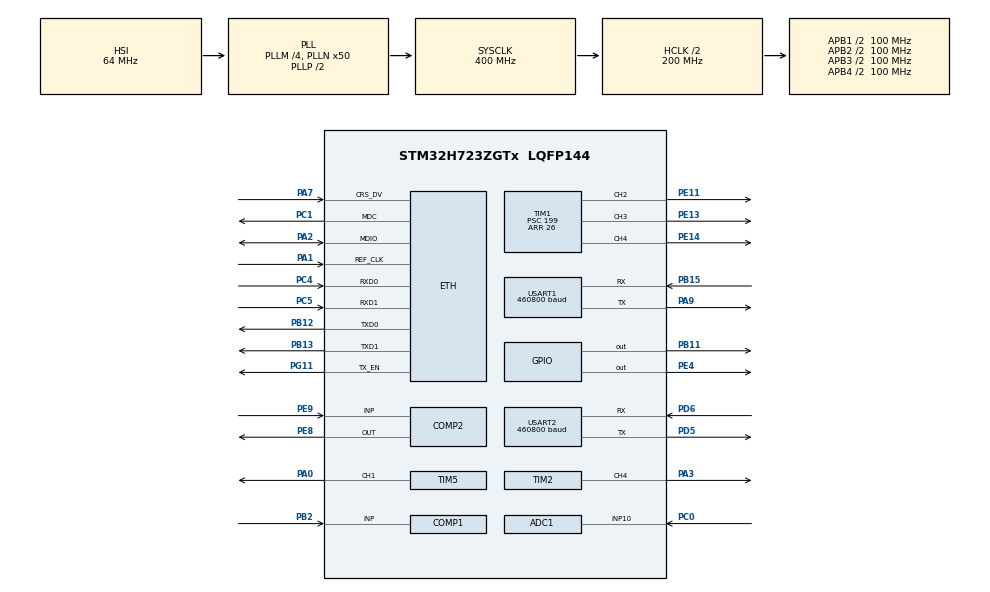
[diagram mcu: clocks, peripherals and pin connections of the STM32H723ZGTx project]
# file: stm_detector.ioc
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ADC1.Channel-0\#ChannelRegularConversion=ADC_CHANNEL_10
ADC1.NbrOfConversionFlag=1
ADC1.OffsetNumber-0\#ChannelRegularConversion=ADC_OFFSET_NONE
ADC1.OffsetSignedSaturation-0\#ChannelRegularConversion=DISABLE
ADC1.Rank-0\#ChannelRegularConversion=1
ADC1.SamplingTime-0\#ChannelRegularConversion=ADC_SAMPLETIME_1CYCLE_5
ADC1.master=1
COMP1.OutputPol=COMP_OUTPUTPOL_NONINVERTED
CORTEX_M7.AccessPermission_S-Cortex_Memory_Protection_Unit_Region1_Settings_S=MPU_REGION_PRIV_RO
CORTEX_M7.BaseAddress_S-Cortex_Memory_Protection_Unit_Region1_Settings_S=0x08000000
CORTEX_M7.CPU_DCache=Enabled
CORTEX_M7.CPU_ICache=Enabled
CORTEX_M7.Enable_S-Cortex_Memory_Protection_Unit_Region1_Settings_S=MPU_REGION_ENABLE
CORTEX_M7.IsCacheable_S-Cortex_Memory_Protection_Unit_Region1_Settings_S=MPU_ACCESS_CACHEABLE
CORTEX_M7.Size_S-Cortex_Memory_Protection_Unit_Region1_Settings_S=MPU_REGION_SIZE_1MB
CORTEX_M7.TypeExtField_S-Cortex_Memory_Protection_Unit_Region1_Settings_S=MPU_TEX_LEVEL1
CORTEX_M7.default_mode_Activation=1
DAC1.DAC_Channel-DAC_OUT1_Int=DAC_CHANNEL_1
DAC1.DAC_Channel-DAC_OUT2_Int=DAC_CHANNEL_2
Dma.Request0=USART2_RX
Dma.USART2_RX.0.Direction=DMA_PERIPH_TO_MEMORY
Dma.USART2_RX.0.EventEnable=DISABLE
Dma.USART2_RX.0.FIFOMode=DMA_FIFOMODE_DISABLE
Dma.USART2_RX.0.Instance=DMA1_Stream5
Dma.USART2_RX.0.MemDataAlignment=DMA_MDATAALIGN_BYTE
Dma.USART2_RX.0.MemInc=DMA_MINC_ENABLE
Dma.USART2_RX.0.Mode=DMA_CIRCULAR
Dma.USART2_RX.0.PeriphDataAlignment=DMA_PDATAALIGN_BYTE
Dma.USART2_RX.0.PeriphInc=DMA_PINC_DISABLE
Dma.USART2_RX.0.Polarity=HAL_DMAMUX_REQ_GEN_RISING
Dma.USART2_RX.0.Priority=DMA_PRIORITY_MEDIUM
Dma.USART2_RX.0.RequestNumber=1
Dma.USART2_RX.0.SignalID=NONE
Dma.USART2_RX.0.SyncEnable=DISABLE
Dma.USART2_RX.0.SyncPolarity=HAL_DMAMUX_SYNC_NO_EVENT
Dma.USART2_RX.0.SyncRequestNumber=1
Dma.USART2_RX.0.SyncSignalID=NONE
ETH.MediaInterface=HAL_ETH_RMII_MODE
FREERTOS.Tasks01=defaultTask,24,1024,StartDefaultTask,Default,NULL,Dynamic,NULL,NULL
FREERTOS.configENABLE_FPU=1
FREERTOS.configMINIMAL_STACK_SIZE=1024
FREERTOS.configUSE_NEWLIB_REENTRANT=1
LWIP.BSP.number=1
LWIP.GATEWAY_ADDRESS=010.000.001.001
LWIP.IP_ADDRESS=010.000.001.099
LWIP.LWIP_DHCP=0
LWIP.NETMASK_ADDRESS=255.255.255.000
LWIP.Version=v2.1.2_Cube
LWIP0.BSP.STBoard=false
LWIP0.BSP.api=BSP_COMPONENT_DRIVER
LWIP0.BSP.component=LAN8742
LWIP0.BSP.instance=LAN8742
LWIP0.BSP.name=Driver_PHY
LWIP0.BSP.semaphore=S_LAN8742
LWIP0.BSP.solution=LAN8742
Mcu.Family=STM32H7
Mcu.Name=STM32H723ZGTx
Mcu.Package=LQFP144
NUCLEO-H723ZG.BUTTON=1
NUCLEO-H723ZG.Bsp_Common_DEMO=true
NUCLEO-H723ZG.LD1=false
NUCLEO-H723ZG.LD2=true
NUCLEO-H723ZG.LD3=true
NUCLEO-H723ZG.VCP=true
NVIC.DMA1_Stream5_IRQn=true\:7\:0\:true\:false\:true\:false\:false\:true\:true
NVIC.EXTI15_10_IRQn=true\:5\:0\:false\:false\:true\:true\:false\:true\:true
NVIC.PriorityGroup=NVIC_PRIORITYGROUP_4
NVIC.TIM3_IRQn=true\:5\:0\:true\:false\:true\:true\:true\:true\:true
NVIC.TIM6_DAC_IRQn=true\:15\:0\:false\:false\:true\:false\:false\:true\:true
NVIC.TimeBase=TIM6_DAC_IRQn
NVIC.TimeBaseIP=TIM6
NVIC.USART2_IRQn=true\:6\:0\:true\:false\:true\:true\:true\:true\:true
PA0.Signal=S_TIM5_CH1
PA1.Mode=RMII
PA1.Signal=ETH_REF_CLK
PA13(JTMS/SWDIO).GPIO_Label=SWDIO
PA13(JTMS/SWDIO).Mode=Serial_Wire
PA13(JTMS/SWDIO).Signal=DEBUG_JTMS-SWDIO
PA14(JTCK/SWCLK).GPIO_Label=SWCLK
PA14(JTCK/SWCLK).Mode=Serial_Wire
PA14(JTCK/SWCLK).Signal=DEBUG_JTCK-SWCLK
PA2.Mode=RMII
PA2.Signal=ETH_MDIO
PA3.GPIO_Speed=GPIO_SPEED_FREQ_VERY_HIGH
PA3.Signal=S_TIM2_CH4
PA7.Mode=RMII
PA7.Signal=ETH_CRS_DV
PA9.Mode=Asynchronous
PA9.Signal=USART1_TX
PB11.Signal=GPIO_Output
PB12.Mode=RMII
PB12.Signal=ETH_TXD0
PB13.Mode=RMII
PB13.Signal=ETH_TXD1
PB15.Mode=Asynchronous
PB15.Signal=USART1_RX
PB2.Mode=INP
PB2.Signal=COMP1_INP
PC0.Signal=ADCx_INP10
PC1.Mode=RMII
PC1.Signal=ETH_MDC
PC14-OSC32_IN.Signal=RCC_OSC32_IN
PC15-OSC32_OUT.Signal=RCC_OSC32_OUT
PC4.Mode=RMII
PC4.Signal=ETH_RXD0
PC5.Mode=RMII
PC5.Signal=ETH_RXD1
PD5.Mode=Asynchronous
PD5.Signal=USART2_TX
PD6.Mode=Asynchronous
PD6.Signal=USART2_RX
PD8.Signal=USART3_TX
PD9.Signal=USART3_RX
PE11.Signal=S_TIM1_CH2
PE12.Signal=COMP1_OUT
PE13.Signal=S_TIM1_CH3
PE14.Signal=S_TIM1_CH4
PE4.Signal=GPIO_Output
PE8.Mode=ExternalOutput
PE8.Signal=COMP2_OUT
PE9.Mode=INP
PE9.Signal=COMP2_INP
PG11.Mode=RMII
PG11.Signal=ETH_TX_EN
ProjectManager.HeapSize=0x200
ProjectManager.StackSize=0x400
ProjectManager.TargetToolchain=STM32CubeIDE
RCC.ADCFreq_Value=160000000
RCC.APB1Freq_Value=100000000
RCC.APB2Freq_Value=100000000
RCC.APB3Freq_Value=100000000
RCC.APB4Freq_Value=100000000
RCC.CortexFreq_Value=400000000
RCC.D1PPRE=RCC_APB3_DIV2
RCC.D2PPRE1=RCC_APB1_DIV2
RCC.D2PPRE2=RCC_APB2_DIV2
RCC.D3PPRE=RCC_APB4_DIV2
RCC.DIVM1=4
RCC.DIVM2=4
RCC.DIVN1=50
RCC.DIVN2=20
RCC.DIVQ1=4
RCC.HCLKFreq_Value=200000000
RCC.HPRE=RCC_HCLK_DIV2
RCC.HSE_VALUE=8000000
RCC.PLL2FRACN=0
RCC.PLLFRACN=0
RCC.SYSCLKFreq_VALUE=400000000
RCC.SYSCLKSource=RCC_SYSCLKSOURCE_PLLCLK
RCC.USBCLockSelection=RCC_USBCLKSOURCE_HSI48
RCC.USBFreq_Value=48000000
SH.ADCx_INP10.0=ADC1_INP10,IN10-Single-Ended
SH.S_TIM1_CH2.0=TIM1_CH2,PWM Generation2 CH2
SH.S_TIM1_CH3.0=TIM1_CH3,PWM Generation3 CH3
SH.S_TIM1_CH4.0=TIM1_CH4,PWM Generation4 CH4
SH.S_TIM2_CH4.0=TIM2_CH4,PWM Generation4 CH4
SH.S_TIM5_CH1.0=TIM5_CH1,PWM Generation1 CH1
TIM1.Channel-PWM\ Generation2\ CH2=TIM_CHANNEL_2
TIM1.Channel-PWM\ Generation3\ CH3=TIM_CHANNEL_3
TIM1.Channel-PWM\ Generation4\ CH4=TIM_CHANNEL_4
TIM1.Period=26
TIM1.Prescaler=199
TIM1.TIM_MasterOutputTrigger=TIM_TRGO_RESET
TIM1.TIM_MasterSlaveMode=TIM_MASTERSLAVEMODE_ENABLE
TIM2.Channel-PWM\ Generation4\ CH4=TIM_CHANNEL_4
TIM2.OCPolarity_4=TIM_OCPOLARITY_HIGH
TIM2.Period=50
TIM2.Prescaler=96-1
TIM2.TIM_MasterOutputTrigger=TIM_TRGO_ENABLE
TIM3.Channel-Input_Capture1_from_TI1_Remap_TIM3=TIM_CHANNEL_1
TIM3.TIM_MasterOutputTrigger=TIM_TRGO_ENABLE
TIM5.Channel-Output\ Compare2\ No\ Output=TIM_CHANNEL_2
TIM5.Channel-PWM\ Generation1\ CH1=TIM_CHANNEL_1
TIM5.Period=455
TIM5.Prescaler=199
TIM5.TIM_MasterOutputTrigger=TIM_TRGO_OC2REF
TIM5.TIM_MasterSlaveMode=TIM_MASTERSLAVEMODE_DISABLE
USART1.BaudRate=460800
USART1.FIFOMode=FIFOMODE_ENABLE
USART1.Mode=MODE_RX
USART1.RXFIFOThreshold=RXFIFO_THRESHOLD_HALFFULL
USART1.VirtualMode-Asynchronous=VM_ASYNC
USART2.BaudRate=460800
USART2.DMADisableonRxErrorParam=ADVFEATURE_DMA_DISABLEONRXERROR
USART2.FIFOMode=FIFOMODE_DISABLE
USART2.Mode=MODE_RX
USART2.RXFIFOThreshold=RXFIFO_THRESHOLD_HALFFULL
USART2.VirtualMode-Asynchronous=VM_ASYNC
VP_COMP1_VS_VREFINT34.Mode=VREFINT_34
VP_COMP2_VS_VREFINT12.Mode=VREFINT_12
VP_DAC1_VS_DACI1.Mode=DAC_OUT1_Int
VP_DAC1_VS_DACI2.Mode=DAC_OUT2_Int
VP_FREERTOS_VS_CMSIS_V2.Mode=CMSIS_V2
VP_LWIP_VS_Enabled.Mode=Enabled
VP_MEMORYMAP_VS_MEMORYMAP.Mode=CurAppReg
VP_NUCLEO-H723ZG_VS_BSP_COMMON.Mode=COMMON
VP_SYS_VS_tim6.Mode=TIM6
VP_TIM1_VS_ClockSourceINT.Mode=Internal
VP_TIM1_VS_ClockSourceITR.Mode=TriggerSource_ITR0
VP_TIM1_VS_ControllerModeTrigger.Mode=Trigger Mode
VP_TIM1_VS_OPM.Mode=OPM_bit
VP_TIM2_VS_ClockSourceINT.Mode=Internal
VP_TIM2_VS_OPM.Mode=OPM_bit
VP_TIM3_VS_ClockSourceINT.Mode=Internal
VP_TIM3_VS_ClockSourceITR.Mode=TriggerSource_ITR1
VP_TIM3_VS_ControllerModeTrigger.Mode=Trigger Mode
VP_TIM3_VS_NoInput1.Mode=Input_Capture1_from_TI1_Remap_TIM3
VP_TIM5_VS_ClockSourceINT.Mode=Internal
VP_TIM5_VS_OPM.Mode=OPM_bit
VP_TIM5_VS_no_output2.Mode=Output Compare2 No Output
VREF+.Mode=InternalMode
VREF+.Signal=VREFBUF_OUT
board=NUCLEO-H723ZG

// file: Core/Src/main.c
/* USER CODE BEGIN Header */
/**
 ******************************************************************************
 * @file           : main.c
 * @brief          : Main program body
 ******************************************************************************
 * @attention
 *
 * Copyright (c) 2025 STMicroelectronics.
 * All rights reserved.
 *
 * This software is licensed under terms that can be found in the LICENSE file
 * in the root directory of this software component.
 * If no LICENSE file comes with this software, it is provided AS-IS.
 *
 ******************************************************************************
 */
/* USER CODE END Header */
#include "main.h"
#include "cmsis_os.h"
#include "lwip.h"

/* USER CODE BEGIN Includes */
#include "lwip/apps/lwiperf.h"
#include "gps.h"
#include "metal_detector.h"

/* USER CODE END Includes */

COM_InitTypeDef BspCOMInit;
__IO uint32_t BspButtonState = BUTTON_RELEASED;
ADC_HandleTypeDef hadc1;

COMP_HandleTypeDef hcomp1;
COMP_HandleTypeDef hcomp2;

DAC_HandleTypeDef hdac1;

TIM_HandleTypeDef htim1;
TIM_HandleTypeDef htim2;
TIM_HandleTypeDef htim3;
TIM_HandleTypeDef htim5;

UART_HandleTypeDef huart1;
UART_HandleTypeDef huart2;
DMA_HandleTypeDef hdma_usart2_rx;

/* Definitions for defaultTask */
osThreadId_t defaultTaskHandle;
const osThreadAttr_t defaultTask_attributes = {
  .name = "defaultTask",
  .stack_size = 1024 * 4,
  .priority = (osPriority_t) osPriorityNormal,
};
/* USER CODE BEGIN PV */

// GPS and metal detector modules are now in separate files (gps.c/metal_detector.c)

/* USER CODE END PV */

void SystemClock_Config(void);
static void MPU_Config(void);
static void MX_GPIO_Init(void);
static void MX_DMA_Init(void);
static void MX_COMP1_Init(void);
static void MX_COMP2_Init(void);
static void MX_DAC1_Init(void);
static void MX_TIM3_Init(void);
static void MX_USART1_UART_Init(void);
static void MX_USART2_UART_Init(void);
static void MX_TIM2_Init(void);
static void MX_ADC1_Init(void);
static void MX_TIM5_Init(void);
static void MX_TIM1_Init(void);
void StartDefaultTask(void *argument);

/* USER CODE BEGIN PFP */
// Function prototypes now in gps.h and metal_detector.h
/* USER CODE END PFP */

int main(void)
{

  /* MPU Configuration--------------------------------------------------------*/
  MPU_Config();

  /* Enable the CPU Cache */

  /* Enable I-Cache---------------------------------------------------------*/
  SCB_EnableICache();

  /* Enable D-Cache---------------------------------------------------------*/
  SCB_EnableDCache();

  /* MCU Configuration--------------------------------------------------------*/

  /* Reset of all peripherals, Initializes the Flash interface and the Systick. */
  HAL_Init();

  /* Configure the system clock */
  SystemClock_Config();

  /* Initialize all configured peripherals */
  MX_GPIO_Init();
  MX_DMA_Init();
  MX_COMP1_Init();
  MX_COMP2_Init();
  MX_DAC1_Init();
  MX_TIM3_Init();
  MX_USART1_UART_Init();
  MX_USART2_UART_Init();
  MX_TIM2_Init();
  MX_ADC1_Init();
  MX_TIM5_Init();
  MX_TIM1_Init();
  /* USER CODE BEGIN 2 */

  MD_Hardware_Init();

  /* USER CODE END 2 */

  /* Init scheduler */
  osKernelInitialize();

  /* Create the thread(s) */
  /* creation of defaultTask */
  defaultTaskHandle = osThreadNew(StartDefaultTask, NULL, &defaultTask_attributes);

  /* Initialize leds */
  BSP_LED_Init(LED_YELLOW);
  BSP_LED_Init(LED_RED);

  /* Initialize USER push-button, will be used to trigger an interrupt each time it's pressed.*/
  BSP_PB_Init(BUTTON_USER, BUTTON_MODE_EXTI);

  /* Initialize COM1 port (460800, 8 bits (7-bit data + 1 stop bit), no parity */
  BspCOMInit.BaudRate   = 460800;
  BspCOMInit.WordLength = COM_WORDLENGTH_8B;
  BspCOMInit.StopBits   = COM_STOPBITS_1;
  BspCOMInit.Parity     = COM_PARITY_NONE;
  BspCOMInit.HwFlowCtl  = COM_HWCONTROL_NONE;
  if (BSP_COM_Init(COM1, &BspCOMInit) != BSP_ERROR_NONE)
  {
    Error_Handler();
  }

  /* USER CODE BEGIN BSP */

  /* -- Sample board code to send message over COM1 port ---- */
  printf("Welcome 2 STM32 world !\n\r");

  /* -- Sample board code to switch on leds ---- */
  BSP_LED_On(LED_YELLOW);
  BSP_LED_On(LED_RED);

  /* USER CODE END BSP */

  /* Start scheduler */
  osKernelStart();

  /* We should never get here as control is now taken by the scheduler */

  /* Infinite loop */
  /* USER CODE BEGIN WHILE */
  while (1)
  {

    /* -- Sample board code for User push-button in interrupt mode ---- */
    if (BspButtonState == BUTTON_PRESSED)
    {
      /* Update button state */
      BspButtonState = BUTTON_RELEASED;
      /* -- Sample board code to toggle leds ---- */
      BSP_LED_Toggle(LED_YELLOW);
      BSP_LED_Toggle(LED_RED);

      /* ..... Perform your action ..... */
    }
    /* USER CODE END WHILE */

  }
}

void SystemClock_Config(void)
{
  RCC_OscInitTypeDef RCC_OscInitStruct = {0};
  RCC_ClkInitTypeDef RCC_ClkInitStruct = {0};

  /** Supply configuration update enable
  */
  HAL_PWREx_ConfigSupply(PWR_LDO_SUPPLY);

  /** Configure the main internal regulator output voltage
  */
  __HAL_PWR_VOLTAGESCALING_CONFIG(PWR_REGULATOR_VOLTAGE_SCALE1);

  while(!__HAL_PWR_GET_FLAG(PWR_FLAG_VOSRDY)) {}

  /** Initializes the RCC Oscillators according to the specified parameters
  * in the RCC_OscInitTypeDef structure.
  */
  RCC_OscInitStruct.OscillatorType = RCC_OSCILLATORTYPE_HSI;
  RCC_OscInitStruct.HSIState = RCC_HSI_DIV1;
  RCC_OscInitStruct.HSICalibrationValue = 64;
  RCC_OscInitStruct.PLL.PLLState = RCC_PLL_ON;
  RCC_OscInitStruct.PLL.PLLSource = RCC_PLLSOURCE_HSI;
  RCC_OscInitStruct.PLL.PLLM = 4;
  RCC_OscInitStruct.PLL.PLLN = 50;
  RCC_OscInitStruct.PLL.PLLP = 2;
  RCC_OscInitStruct.PLL.PLLQ = 4;
  RCC_OscInitStruct.PLL.PLLR = 2;
  RCC_OscInitStruct.PLL.PLLRGE = RCC_PLL1VCIRANGE_3;
  RCC_OscInitStruct.PLL.PLLVCOSEL = RCC_PLL1VCOWIDE;
  RCC_OscInitStruct.PLL.PLLFRACN = 0;
  if (HAL_RCC_OscConfig(&RCC_OscInitStruct) != HAL_OK)
  {
    Error_Handler();
  }

  /** Initializes the CPU, AHB and APB buses clocks
  */
  RCC_ClkInitStruct.ClockType = RCC_CLOCKTYPE_HCLK|RCC_CLOCKTYPE_SYSCLK
                              |RCC_CLOCKTYPE_PCLK1|RCC_CLOCKTYPE_PCLK2
                              |RCC_CLOCKTYPE_D3PCLK1|RCC_CLOCKTYPE_D1PCLK1;
  RCC_ClkInitStruct.SYSCLKSource = RCC_SYSCLKSOURCE_PLLCLK;
  RCC_ClkInitStruct.SYSCLKDivider = RCC_SYSCLK_DIV1;
  RCC_ClkInitStruct.AHBCLKDivider = RCC_HCLK_DIV2;
  RCC_ClkInitStruct.APB3CLKDivider = RCC_APB3_DIV2;
  RCC_ClkInitStruct.APB1CLKDivider = RCC_APB1_DIV2;
  RCC_ClkInitStruct.APB2CLKDivider = RCC_APB2_DIV2;
  RCC_ClkInitStruct.APB4CLKDivider = RCC_APB4_DIV2;

  if (HAL_RCC_ClockConfig(&RCC_ClkInitStruct, FLASH_LATENCY_2) != HAL_OK)
  {
    Error_Handler();
  }
}

static void MX_ADC1_Init(void)
{

  ADC_MultiModeTypeDef multimode = {0};
  ADC_ChannelConfTypeDef sConfig = {0};

  /** Common config
  */
  hadc1.Instance = ADC1;
  hadc1.Init.ClockPrescaler = ADC_CLOCK_ASYNC_DIV1;
  hadc1.Init.Resolution = ADC_RESOLUTION_16B;
  hadc1.Init.ScanConvMode = ADC_SCAN_DISABLE;
  hadc1.Init.EOCSelection = ADC_EOC_SINGLE_CONV;
  hadc1.Init.LowPowerAutoWait = DISABLE;
  hadc1.Init.ContinuousConvMode = DISABLE;
  hadc1.Init.NbrOfConversion = 1;
  hadc1.Init.DiscontinuousConvMode = DISABLE;
  hadc1.Init.ExternalTrigConv = ADC_SOFTWARE_START;
  hadc1.Init.ExternalTrigConvEdge = ADC_EXTERNALTRIGCONVEDGE_NONE;
  hadc1.Init.ConversionDataManagement = ADC_CONVERSIONDATA_DR;
  hadc1.Init.Overrun = ADC_OVR_DATA_PRESERVED;
  hadc1.Init.LeftBitShift = ADC_LEFTBITSHIFT_NONE;
  hadc1.Init.OversamplingMode = DISABLE;
  hadc1.Init.Oversampling.Ratio = 1;
  if (HAL_ADC_Init(&hadc1) != HAL_OK)
  {
    Error_Handler();
  }

  /** Configure the ADC multi-mode
  */
  multimode.Mode = ADC_MODE_INDEPENDENT;
  if (HAL_ADCEx_MultiModeConfigChannel(&hadc1, &multimode) != HAL_OK)
  {
    Error_Handler();
  }

  /** Configure Regular Channel
  */
  sConfig.Channel = ADC_CHANNEL_10;
  sConfig.Rank = ADC_REGULAR_RANK_1;
  sConfig.SamplingTime = ADC_SAMPLETIME_1CYCLE_5;
  sConfig.SingleDiff = ADC_SINGLE_ENDED;
  sConfig.OffsetNumber = ADC_OFFSET_NONE;
  sConfig.Offset = 0;
  sConfig.OffsetSignedSaturation = DISABLE;
  if (HAL_ADC_ConfigChannel(&hadc1, &sConfig) != HAL_OK)
  {
    Error_Handler();
  }

}

static void MX_COMP1_Init(void)
{

  hcomp1.Instance = COMP1;
  hcomp1.Init.InvertingInput = COMP_INPUT_MINUS_3_4VREFINT;
  hcomp1.Init.NonInvertingInput = COMP_INPUT_PLUS_IO2;
  hcomp1.Init.OutputPol = COMP_OUTPUTPOL_NONINVERTED;
  hcomp1.Init.Hysteresis = COMP_HYSTERESIS_NONE;
  hcomp1.Init.BlankingSrce = COMP_BLANKINGSRC_NONE;
  hcomp1.Init.Mode = COMP_POWERMODE_HIGHSPEED;
  hcomp1.Init.WindowMode = COMP_WINDOWMODE_DISABLE;
  hcomp1.Init.TriggerMode = COMP_TRIGGERMODE_NONE;
  if (HAL_COMP_Init(&hcomp1) != HAL_OK)
  {
    Error_Handler();
  }

}

static void MX_COMP2_Init(void)
{

  hcomp2.Instance = COMP2;
  hcomp2.Init.InvertingInput = COMP_INPUT_MINUS_1_2VREFINT;
  hcomp2.Init.NonInvertingInput = COMP_INPUT_PLUS_IO1;
  hcomp2.Init.OutputPol = COMP_OUTPUTPOL_NONINVERTED;
  hcomp2.Init.Hysteresis = COMP_HYSTERESIS_NONE;
  hcomp2.Init.BlankingSrce = COMP_BLANKINGSRC_NONE;
  hcomp2.Init.Mode = COMP_POWERMODE_HIGHSPEED;
  hcomp2.Init.WindowMode = COMP_WINDOWMODE_DISABLE;
  hcomp2.Init.TriggerMode = COMP_TRIGGERMODE_NONE;
  if (HAL_COMP_Init(&hcomp2) != HAL_OK)
  {
    Error_Handler();
  }

}

static void MX_DAC1_Init(void)
{

  DAC_ChannelConfTypeDef sConfig = {0};

  /** DAC Initialization
  */
  hdac1.Instance = DAC1;
  if (HAL_DAC_Init(&hdac1) != HAL_OK)
  {
    Error_Handler();
  }

  /** DAC channel OUT1 config
  */
  sConfig.DAC_SampleAndHold = DAC_SAMPLEANDHOLD_DISABLE;
  sConfig.DAC_Trigger = DAC_TRIGGER_NONE;
  sConfig.DAC_OutputBuffer = DAC_OUTPUTBUFFER_DISABLE;
  sConfig.DAC_ConnectOnChipPeripheral = DAC_CHIPCONNECT_ENABLE;
  sConfig.DAC_UserTrimming = DAC_TRIMMING_FACTORY;
  if (HAL_DAC_ConfigChannel(&hdac1, &sConfig, DAC_CHANNEL_1) != HAL_OK)
  {
    Error_Handler();
  }

  /** DAC channel OUT2 config
  */
  if (HAL_DAC_ConfigChannel(&hdac1, &sConfig, DAC_CHANNEL_2) != HAL_OK)
  {
    Error_Handler();
  }

}

static void MX_TIM1_Init(void)
{

  TIM_ClockConfigTypeDef sClockSourceConfig = {0};
  TIM_SlaveConfigTypeDef sSlaveConfig = {0};
  TIM_MasterConfigTypeDef sMasterConfig = {0};
  TIM_OC_InitTypeDef sConfigOC = {0};
  TIM_BreakDeadTimeConfigTypeDef sBreakDeadTimeConfig = {0};

  htim1.Instance = TIM1;
  htim1.Init.Prescaler = 199;
  htim1.Init.CounterMode = TIM_COUNTERMODE_UP;
  htim1.Init.Period = 26;
  htim1.Init.ClockDivision = TIM_CLOCKDIVISION_DIV1;
  htim1.Init.RepetitionCounter = 0;
  htim1.Init.AutoReloadPreload = TIM_AUTORELOAD_PRELOAD_DISABLE;
  if (HAL_TIM_Base_Init(&htim1) != HAL_OK)
  {
    Error_Handler();
  }
  sClockSourceConfig.ClockSource = TIM_CLOCKSOURCE_INTERNAL;
  if (HAL_TIM_ConfigClockSource(&htim1, &sClockSourceConfig) != HAL_OK)
  {
    Error_Handler();
  }
  if (HAL_TIM_PWM_Init(&htim1) != HAL_OK)
  {
    Error_Handler();
  }
  if (HAL_TIM_OnePulse_Init(&htim1, TIM_OPMODE_SINGLE) != HAL_OK)
  {
    Error_Handler();
  }
  sSlaveConfig.SlaveMode = TIM_SLAVEMODE_TRIGGER;
  sSlaveConfig.InputTrigger = TIM_TS_ITR0;
  if (HAL_TIM_SlaveConfigSynchro(&htim1, &sSlaveConfig) != HAL_OK)
  {
    Error_Handler();
  }
  sMasterConfig.MasterOutputTrigger = TIM_TRGO_RESET;
  sMasterConfig.MasterOutputTrigger2 = TIM_TRGO2_RESET;
  sMasterConfig.MasterSlaveMode = TIM_MASTERSLAVEMODE_ENABLE;
  if (HAL_TIMEx_MasterConfigSynchronization(&htim1, &sMasterConfig) != HAL_OK)
  {
    Error_Handler();
  }
  sConfigOC.OCMode = TIM_OCMODE_PWM1;
  sConfigOC.Pulse = 0;
  sConfigOC.OCPolarity = TIM_OCPOLARITY_HIGH;
  sConfigOC.OCNPolarity = TIM_OCNPOLARITY_HIGH;
  sConfigOC.OCFastMode = TIM_OCFAST_DISABLE;
  sConfigOC.OCIdleState = TIM_OCIDLESTATE_RESET;
  sConfigOC.OCNIdleState = TIM_OCNIDLESTATE_RESET;
  if (HAL_TIM_PWM_ConfigChannel(&htim1, &sConfigOC, TIM_CHANNEL_2) != HAL_OK)
  {
    Error_Handler();
  }
  if (HAL_TIM_PWM_ConfigChannel(&htim1, &sConfigOC, TIM_CHANNEL_3) != HAL_OK)
  {
    Error_Handler();
  }
  if (HAL_TIM_PWM_ConfigChannel(&htim1, &sConfigOC, TIM_CHANNEL_4) != HAL_OK)
  {
    Error_Handler();
  }
  sBreakDeadTimeConfig.OffStateRunMode = TIM_OSSR_DISABLE;
  sBreakDeadTimeConfig.OffStateIDLEMode = TIM_OSSI_DISABLE;
  sBreakDeadTimeConfig.LockLevel = TIM_LOCKLEVEL_OFF;
  sBreakDeadTimeConfig.DeadTime = 0;
  sBreakDeadTimeConfig.BreakState = TIM_BREAK_DISABLE;
  sBreakDeadTimeConfig.BreakPolarity = TIM_BREAKPOLARITY_HIGH;
  sBreakDeadTimeConfig.BreakFilter = 0;
  sBreakDeadTimeConfig.Break2State = TIM_BREAK2_DISABLE;
  sBreakDeadTimeConfig.Break2Polarity = TIM_BREAK2POLARITY_HIGH;
  sBreakDeadTimeConfig.Break2Filter = 0;
  sBreakDeadTimeConfig.AutomaticOutput = TIM_AUTOMATICOUTPUT_DISABLE;
  if (HAL_TIMEx_ConfigBreakDeadTime(&htim1, &sBreakDeadTimeConfig) != HAL_OK)
  {
    Error_Handler();
  }
  HAL_TIM_MspPostInit(&htim1);

}

static void MX_TIM2_Init(void)
{

  TIM_ClockConfigTypeDef sClockSourceConfig = {0};
  TIM_MasterConfigTypeDef sMasterConfig = {0};
  TIM_OC_InitTypeDef sConfigOC = {0};

  htim2.Instance = TIM2;
  htim2.Init.Prescaler = 96-1;
  htim2.Init.CounterMode = TIM_COUNTERMODE_UP;
  htim2.Init.Period = 50;
  htim2.Init.ClockDivision = TIM_CLOCKDIVISION_DIV1;
  htim2.Init.AutoReloadPreload = TIM_AUTORELOAD_PRELOAD_DISABLE;
  if (HAL_TIM_Base_Init(&htim2) != HAL_OK)
  {
    Error_Handler();
  }
  sClockSourceConfig.ClockSource = TIM_CLOCKSOURCE_INTERNAL;
  if (HAL_TIM_ConfigClockSource(&htim2, &sClockSourceConfig) != HAL_OK)
  {
    Error_Handler();
  }
  if (HAL_TIM_PWM_Init(&htim2) != HAL_OK)
  {
    Error_Handler();
  }
  if (HAL_TIM_OnePulse_Init(&htim2, TIM_OPMODE_SINGLE) != HAL_OK)
  {
    Error_Handler();
  }
  sMasterConfig.MasterOutputTrigger = TIM_TRGO_ENABLE;
  sMasterConfig.MasterSlaveMode = TIM_MASTERSLAVEMODE_DISABLE;
  if (HAL_TIMEx_MasterConfigSynchronization(&htim2, &sMasterConfig) != HAL_OK)
  {
    Error_Handler();
  }
  sConfigOC.OCMode = TIM_OCMODE_PWM1;
  sConfigOC.Pulse = 0;
  sConfigOC.OCPolarity = TIM_OCPOLARITY_HIGH;
  sConfigOC.OCFastMode = TIM_OCFAST_DISABLE;
  if (HAL_TIM_PWM_ConfigChannel(&htim2, &sConfigOC, TIM_CHANNEL_4) != HAL_OK)
  {
    Error_Handler();
  }
  /* USER CODE BEGIN TIM2_Init 2 */

  // Pull-ups on GPIO ensure both channels idle HIGH at reset (configured in MSP)

  /* USER CODE END TIM2_Init 2 */
  HAL_TIM_MspPostInit(&htim2);

}

static void MX_TIM3_Init(void)
{

  TIM_ClockConfigTypeDef sClockSourceConfig = {0};
  TIM_SlaveConfigTypeDef sSlaveConfig = {0};
  TIM_MasterConfigTypeDef sMasterConfig = {0};
  TIM_IC_InitTypeDef sConfigIC = {0};

  htim3.Instance = TIM3;
  htim3.Init.Prescaler = 0;
  htim3.Init.CounterMode = TIM_COUNTERMODE_UP;
  htim3.Init.Period = 65535;
  htim3.Init.ClockDivision = TIM_CLOCKDIVISION_DIV1;
  htim3.Init.AutoReloadPreload = TIM_AUTORELOAD_PRELOAD_DISABLE;
  if (HAL_TIM_Base_Init(&htim3) != HAL_OK)
  {
    Error_Handler();
  }
  sClockSourceConfig.ClockSource = TIM_CLOCKSOURCE_INTERNAL;
  if (HAL_TIM_ConfigClockSource(&htim3, &sClockSourceConfig) != HAL_OK)
  {
    Error_Handler();
  }
  if (HAL_TIM_IC_Init(&htim3) != HAL_OK)
  {
    Error_Handler();
  }
  sSlaveConfig.SlaveMode = TIM_SLAVEMODE_TRIGGER;
  sSlaveConfig.InputTrigger = TIM_TS_ITR1;
  if (HAL_TIM_SlaveConfigSynchro(&htim3, &sSlaveConfig) != HAL_OK)
  {
    Error_Handler();
  }
  sMasterConfig.MasterOutputTrigger = TIM_TRGO_ENABLE;
  sMasterConfig.MasterSlaveMode = TIM_MASTERSLAVEMODE_DISABLE;
  if (HAL_TIMEx_MasterConfigSynchronization(&htim3, &sMasterConfig) != HAL_OK)
  {
    Error_Handler();
  }
  sConfigIC.ICPolarity = TIM_INPUTCHANNELPOLARITY_RISING;
  sConfigIC.ICSelection = TIM_ICSELECTION_DIRECTTI;
  sConfigIC.ICPrescaler = TIM_ICPSC_DIV1;
  sConfigIC.ICFilter = 0;
  if (HAL_TIM_IC_ConfigChannel(&htim3, &sConfigIC, TIM_CHANNEL_1) != HAL_OK)
  {
    Error_Handler();
  }
  if (HAL_TIMEx_TISelection(&htim3, TIM_TIM3_TI1_COMP1, TIM_CHANNEL_1) != HAL_OK)
  {
    Error_Handler();
  }

}

static void MX_TIM5_Init(void)
{

  TIM_ClockConfigTypeDef sClockSourceConfig = {0};
  TIM_MasterConfigTypeDef sMasterConfig = {0};
  TIM_OC_InitTypeDef sConfigOC = {0};

  htim5.Instance = TIM5;
  htim5.Init.Prescaler = 199;
  htim5.Init.CounterMode = TIM_COUNTERMODE_UP;
  htim5.Init.Period = 455;
  htim5.Init.ClockDivision = TIM_CLOCKDIVISION_DIV1;
  htim5.Init.AutoReloadPreload = TIM_AUTORELOAD_PRELOAD_DISABLE;
  if (HAL_TIM_Base_Init(&htim5) != HAL_OK)
  {
    Error_Handler();
  }
  sClockSourceConfig.ClockSource = TIM_CLOCKSOURCE_INTERNAL;
  if (HAL_TIM_ConfigClockSource(&htim5, &sClockSourceConfig) != HAL_OK)
  {
    Error_Handler();
  }
  if (HAL_TIM_PWM_Init(&htim5) != HAL_OK)
  {
    Error_Handler();
  }
  if (HAL_TIM_OC_Init(&htim5) != HAL_OK)
  {
    Error_Handler();
  }
  if (HAL_TIM_OnePulse_Init(&htim5, TIM_OPMODE_SINGLE) != HAL_OK)
  {
    Error_Handler();
  }
  sMasterConfig.MasterOutputTrigger = TIM_TRGO_OC2REF;
  sMasterConfig.MasterSlaveMode = TIM_MASTERSLAVEMODE_DISABLE;
  if (HAL_TIMEx_MasterConfigSynchronization(&htim5, &sMasterConfig) != HAL_OK)
  {
    Error_Handler();
  }
  sConfigOC.OCMode = TIM_OCMODE_PWM1;
  sConfigOC.Pulse = 0;
  sConfigOC.OCPolarity = TIM_OCPOLARITY_HIGH;
  sConfigOC.OCFastMode = TIM_OCFAST_DISABLE;
  if (HAL_TIM_PWM_ConfigChannel(&htim5, &sConfigOC, TIM_CHANNEL_1) != HAL_OK)
  {
    Error_Handler();
  }
  sConfigOC.OCMode = TIM_OCMODE_TIMING;
  if (HAL_TIM_OC_ConfigChannel(&htim5, &sConfigOC, TIM_CHANNEL_2) != HAL_OK)
  {
    Error_Handler();
  }
  HAL_TIM_MspPostInit(&htim5);

}

static void MX_USART1_UART_Init(void)
{

  huart1.Instance = USART1;
  huart1.Init.BaudRate = 460800;
  huart1.Init.WordLength = UART_WORDLENGTH_8B;
  huart1.Init.StopBits = UART_STOPBITS_1;
  huart1.Init.Parity = UART_PARITY_NONE;
  huart1.Init.Mode = UART_MODE_RX;
  huart1.Init.HwFlowCtl = UART_HWCONTROL_NONE;
  huart1.Init.OverSampling = UART_OVERSAMPLING_16;
  huart1.Init.OneBitSampling = UART_ONE_BIT_SAMPLE_DISABLE;
  huart1.Init.ClockPrescaler = UART_PRESCALER_DIV1;
  huart1.AdvancedInit.AdvFeatureInit = UART_ADVFEATURE_NO_INIT;
  if (HAL_UART_Init(&huart1) != HAL_OK)
  {
    Error_Handler();
  }
  if (HAL_UARTEx_SetTxFifoThreshold(&huart1, UART_TXFIFO_THRESHOLD_1_8) != HAL_OK)
  {
    Error_Handler();
  }
  if (HAL_UARTEx_SetRxFifoThreshold(&huart1, UART_RXFIFO_THRESHOLD_1_2) != HAL_OK)
  {
    Error_Handler();
  }
  if (HAL_UARTEx_EnableFifoMode(&huart1) != HAL_OK)
  {
    Error_Handler();
  }

}

static void MX_USART2_UART_Init(void)
{

  huart2.Instance = USART2;
  huart2.Init.BaudRate = 460800;
  huart2.Init.WordLength = UART_WORDLENGTH_8B;
  huart2.Init.StopBits = UART_STOPBITS_1;
  huart2.Init.Parity = UART_PARITY_NONE;
  huart2.Init.Mode = UART_MODE_RX;
  huart2.Init.HwFlowCtl = UART_HWCONTROL_NONE;
  huart2.Init.OverSampling = UART_OVERSAMPLING_16;
  huart2.Init.OneBitSampling = UART_ONE_BIT_SAMPLE_DISABLE;
  huart2.Init.ClockPrescaler = UART_PRESCALER_DIV1;
  huart2.AdvancedInit.AdvFeatureInit = UART_ADVFEATURE_DMADISABLEONERROR_INIT;
  huart2.AdvancedInit.DMADisableonRxError = UART_ADVFEATURE_DMA_DISABLEONRXERROR;
  if (HAL_UART_Init(&huart2) != HAL_OK)
  {
    Error_Handler();
  }
  if (HAL_UARTEx_SetTxFifoThreshold(&huart2, UART_TXFIFO_THRESHOLD_1_8) != HAL_OK)
  {
    Error_Handler();
  }
  if (HAL_UARTEx_SetRxFifoThreshold(&huart2, UART_RXFIFO_THRESHOLD_1_2) != HAL_OK)
  {
    Error_Handler();
  }
  if (HAL_UARTEx_DisableFifoMode(&huart2) != HAL_OK)
  {
    Error_Handler();
  }
  /* USER CODE BEGIN USART2_Init 2 */

  // Configure character match for LF ('\n' = 0x0A)
  // CRITICAL: Must disable UART to write CR2 ADD field!
  huart2.Instance->CR1 &= ~USART_CR1_UE;  // Disable UART
  huart2.Instance->CR2 &= ~(0xFFUL << 24);  // Clear ADD field
  huart2.Instance->CR2 |= (0x0AUL << 24);  // Set to LF (0x0A)
  huart2.Instance->CR1 |= USART_CR1_UE;   // Re-enable UART

  // Set priorities and enable NVIC
  HAL_NVIC_SetPriority(USART2_IRQn, 4, 0);
  HAL_NVIC_EnableIRQ(USART2_IRQn);

  // Enable character match interrupt
  __HAL_UART_ENABLE_IT(&huart2, UART_IT_CM);

  // Start DMA reception in circular mode
  HAL_UART_Receive_DMA(&huart2, gps_dma_buffer, GPS_DMA_BUFFER_SIZE);

  /* USER CODE END USART2_Init 2 */

}

static void MX_DMA_Init(void)
{

  /* DMA controller clock enable */
  __HAL_RCC_DMA1_CLK_ENABLE();

  /* DMA interrupt init */
  /* DMA1_Stream5_IRQn interrupt configuration */
  HAL_NVIC_SetPriority(DMA1_Stream5_IRQn, 7, 0);
  HAL_NVIC_EnableIRQ(DMA1_Stream5_IRQn);

}

static void MX_GPIO_Init(void)
{
  GPIO_InitTypeDef GPIO_InitStruct = {0};

  /* GPIO Ports Clock Enable */
  __HAL_RCC_GPIOE_CLK_ENABLE();
  __HAL_RCC_GPIOC_CLK_ENABLE();
  __HAL_RCC_GPIOA_CLK_ENABLE();
  __HAL_RCC_GPIOB_CLK_ENABLE();
  __HAL_RCC_GPIOD_CLK_ENABLE();
  __HAL_RCC_GPIOG_CLK_ENABLE();

  /*Configure GPIO pin Output Level */
  HAL_GPIO_WritePin(GPIOE, GPIO_PIN_4, GPIO_PIN_RESET);

  /*Configure GPIO pin Output Level */
  HAL_GPIO_WritePin(GPIOB, GPIO_PIN_11, GPIO_PIN_RESET);

  /*Configure GPIO pin : PE4 */
  GPIO_InitStruct.Pin = GPIO_PIN_4;
  GPIO_InitStruct.Mode = GPIO_MODE_OUTPUT_PP;
  GPIO_InitStruct.Pull = GPIO_NOPULL;
  GPIO_InitStruct.Speed = GPIO_SPEED_FREQ_LOW;
  HAL_GPIO_Init(GPIOE, &GPIO_InitStruct);

  /*Configure GPIO pin : PB11 */
  GPIO_InitStruct.Pin = GPIO_PIN_11;
  GPIO_InitStruct.Mode = GPIO_MODE_OUTPUT_PP;
  GPIO_InitStruct.Pull = GPIO_NOPULL;
  GPIO_InitStruct.Speed = GPIO_SPEED_FREQ_LOW;
  HAL_GPIO_Init(GPIOB, &GPIO_InitStruct);

}

/* USER CODE BEGIN 4 */

/* ISR 1: TIM5 CC1 — PA0 has gone LOW (TX off). Stop TIM5, arm TIM1 PE signals. */
void HAL_TIM_OC_DelayElapsedCallback(TIM_HandleTypeDef *htim)
{
  if (htim->Instance == TIM5)
  {
    md_tim5_cc1_fired();
  }
}

/* ISR 3: ADC EOC — release U4B/U4C, store result, signal foreground task. */
void HAL_ADC_ConvCpltCallback(ADC_HandleTypeDef *hadc)
{
  if (hadc->Instance == ADC1)
  {
    md_adc_eoc_fired();
  }
}

/* USER CODE END 4 */

void StartDefaultTask(void *argument)
{
  /* init code for LWIP */
  MX_LWIP_Init();
  /* USER CODE BEGIN 5 */
  printf("# Metal Detector v2 started  blanking=%luus rx_window=%luus\n",
         md_blanking_us, md_rx_window_us);

  // Synchronize GPS read position to current DMA write position
  osDelay(100);
  gps_buffer_read_pos = GPS_DMA_BUFFER_SIZE - __HAL_DMA_GET_COUNTER(huart2.hdmarx);
  last_gga_timestamp = HAL_GetTick();
  printf("# GPS synchronized at DMA position %lu\n", gps_buffer_read_pos);

  uint32_t adc_val = 0;

  for (;;)
  {
    /* --- Keyboard timing adjustment ---
     * a/z: blanking ±2µs    s/x: rx_window ±1µs
     *
     * Read directly from the UART peripheral register instead of using
     * HAL_UART_Receive(timeout=0).  The HAL path can leave RxState=BUSY_RX
     * when no char is available, permanently blocking future calls.  Rapid
     * key-repeat also triggers an overrun error (ORE) that compounds the
     * problem.  Direct register access has no state machine to break.
     *
     * Drain ALL pending bytes each poll so held keys adjust smoothly; print
     * once at the end to avoid spamming the console. */
    {
      extern UART_HandleTypeDef hcom_uart[];
      USART_TypeDef *vcp = hcom_uart[COM1].Instance;

      /* Clear overrun / framing errors before reading */
      vcp->ICR = USART_ICR_ORECF | USART_ICR_FECF | USART_ICR_NECF | USART_ICR_PECF;

      int changed = 0;
      while (vcp->ISR & USART_ISR_RXNE_RXFNE)
      {
        uint8_t ch = (uint8_t)(vcp->RDR & 0xFFU);
        if      (ch == 'a') { md_blanking_us  += 2;                                                changed = 1; }
        else if (ch == 'z') { md_blanking_us   = (md_blanking_us  > 2) ? md_blanking_us  - 2 : 0; changed = 1; }
        else if (ch == 's') { md_rx_window_us += 1;                                                changed = 1; }
        else if (ch == 'x') { md_rx_window_us  = (md_rx_window_us > 1) ? md_rx_window_us - 1 : 1; changed = 1; }
        else if (ch == 'S') { MD_Save_Settings(); }
      }
      if (changed)
        printf("# blanking=%luus  rx_window=%luus\n", md_blanking_us, md_rx_window_us);
    }

    // Consume result from the previous cycle before starting a new one.
    //new_gga_available = true;   // temp for testing (no GPS)
    //latest_gps_position.valid = true;
    md_get_result(&adc_val);

    if (new_gga_available && latest_gps_position.valid)
    {
      printf("%.9f,%.9f,%d,%lu,%.6f\n",
             latest_gps_position.latitude,
             latest_gps_position.longitude,
             latest_gps_position.fix_quality,
             adc_val,
             latest_gps_position.timestamp);

      new_gga_available = 0;
    md_start_cycle();
    }

    // Kick off the next detection cycle (no-op if still running)

    //osDelay(50);
  }
  /* USER CODE END 5 */
}

 /* MPU Configuration */

void MPU_Config(void)
{
  MPU_Region_InitTypeDef MPU_InitStruct = {0};

  /* Disables the MPU */
  HAL_MPU_Disable();

  /** Initializes and configures the Region and the memory to be protected
  */
  MPU_InitStruct.Enable = MPU_REGION_ENABLE;
  MPU_InitStruct.Number = MPU_REGION_NUMBER0;
  MPU_InitStruct.BaseAddress = 0x0;
  MPU_InitStruct.Size = MPU_REGION_SIZE_4GB;
  MPU_InitStruct.SubRegionDisable = 0x87;
  MPU_InitStruct.TypeExtField = MPU_TEX_LEVEL0;
  MPU_InitStruct.AccessPermission = MPU_REGION_NO_ACCESS;
  MPU_InitStruct.DisableExec = MPU_INSTRUCTION_ACCESS_DISABLE;
  MPU_InitStruct.IsShareable = MPU_ACCESS_SHAREABLE;
  MPU_InitStruct.IsCacheable = MPU_ACCESS_NOT_CACHEABLE;
  MPU_InitStruct.IsBufferable = MPU_ACCESS_NOT_BUFFERABLE;

  HAL_MPU_ConfigRegion(&MPU_InitStruct);

  /** Initializes and configures the Region and the memory to be protected
  */
  MPU_InitStruct.Number = MPU_REGION_NUMBER1;
  MPU_InitStruct.BaseAddress = 0x08000000;
  MPU_InitStruct.Size = MPU_REGION_SIZE_1MB;
  MPU_InitStruct.SubRegionDisable = 0x0;
  MPU_InitStruct.TypeExtField = MPU_TEX_LEVEL1;
  MPU_InitStruct.AccessPermission = MPU_REGION_PRIV_RO;
  MPU_InitStruct.DisableExec = MPU_INSTRUCTION_ACCESS_ENABLE;
  MPU_InitStruct.IsShareable = MPU_ACCESS_NOT_SHAREABLE;
  MPU_InitStruct.IsCacheable = MPU_ACCESS_CACHEABLE;

  HAL_MPU_ConfigRegion(&MPU_InitStruct);
  /* Enables the MPU */
  HAL_MPU_Enable(MPU_PRIVILEGED_DEFAULT);

}

void HAL_TIM_PeriodElapsedCallback(TIM_HandleTypeDef *htim)
{
  if (htim->Instance == TIM6)
  {
    HAL_IncTick();
  }
  /* USER CODE BEGIN Callback 1 */
  if (htim->Instance == TIM1)
  {
    md_tim1_uie_fired();     /* ISR 2: RX window end — disconnect U4D, start ADC */
  }
  /* USER CODE END Callback 1 */
}

/**
  * @brief BSP Push Button callback
  * @param Button Specifies the pressed button
  * @retval None
  */
void BSP_PB_Callback(Button_TypeDef Button)
{
  if (Button == BUTTON_USER)
  {
    BspButtonState = BUTTON_PRESSED;
  }
}

void Error_Handler(void)
{
  __disable_irq();
  while (1)
  {
  }
}
